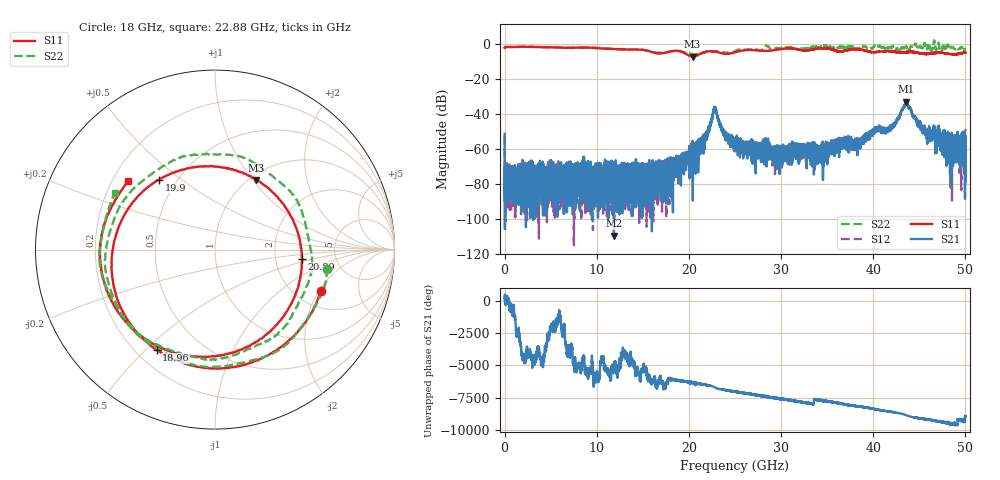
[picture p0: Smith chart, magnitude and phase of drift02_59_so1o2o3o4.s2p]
!Created with skrf (http://scikit-rf.org).
# Hz S RI R 50.0
!freq ReS11 ImS11 ReS21 ImS21 ReS12 ImS12 ReS22 ImS22
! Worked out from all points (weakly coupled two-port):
!   10001 points, 300 kHz to 50 GHz, reference 50 ohm
!   highest |S21| = -32.72 dB at 43.61 GHz (marker M1); lowest = -109.4 dB at 11.86 GHz (marker M2)
!   lowest |S11| = -6.9 dB at 20.4 GHz (marker M3), VSWR 2.64, Z = 53.7 + j52.3 ohm
!   |S11| at or under -10 dB: nowhere
!   |S22| runs from -5.7 to 2.3 dB; largest |S21 - S12| = 0.0029
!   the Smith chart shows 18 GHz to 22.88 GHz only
!   S11 on the Smith chart (normalised r, x): 18 GHz: 2.68, -2.08; 18.96 GHz: 0.28, -0.54; 19.9 GHz: 0.40, +0.42; 20.89 GHz: 2.84, -0.39; 22.88 GHz: 0.26, +0.33
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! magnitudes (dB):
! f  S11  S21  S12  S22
! 300 kHz  -2.0  -51.2  -52.5  -2.1
! 285.3 MHz  -1.4  -81.4  -79.7  -1.4
! 8.335 GHz  -1.7  -72.0  -72.7  -1.9
! 11.86 GHz  -2.6  -109.4  -86.9  -2.6
! 16.67 GHz  -5.2  -79.2  -73.8  -4.7
! 18 GHz  -4.0  -66.3  -70.2  -4.0
! 18.96 GHz  -3.8  -72.7  -65.0  -3.9
! 19.9 GHz  -6.0  -64.1  -62.5  -5.2
! 20.4 GHz  -6.9  -59.0  -68.0  -5.4
! 20.89 GHz  -6.2  -58.6  -61.5  -5.6
! 22.88 GHz  -4.2  -36.6  -36.4  -3.9
! 23.72 GHz  -5.2  -49.4  -48.6  -4.6
! 25 GHz  -4.5  -54.9  -54.8  -3.9
! 29.96 GHz  -2.7  -63.0  -61.1  -2.0
! 33.34 GHz  -3.0  -61.8  -62.3  -1.5
! 37.98 GHz  -2.8  -56.6  -56.2  -2.1
! 40.42 GHz  -4.3  -48.7  -48.4  -1.0
! 41.67 GHz  -3.9  -47.6  -48.4  -1.9
! 43.61 GHz  -4.5  -32.7  -33.1  -1.3
! 45.9 GHz  -5.4  -51.5  -52.3  -1.9
! 49.57 GHz  -5.0  -63.5  -53.6  -1.5
! 50 GHz  -4.7  -58.6  -48.6  -2.6
